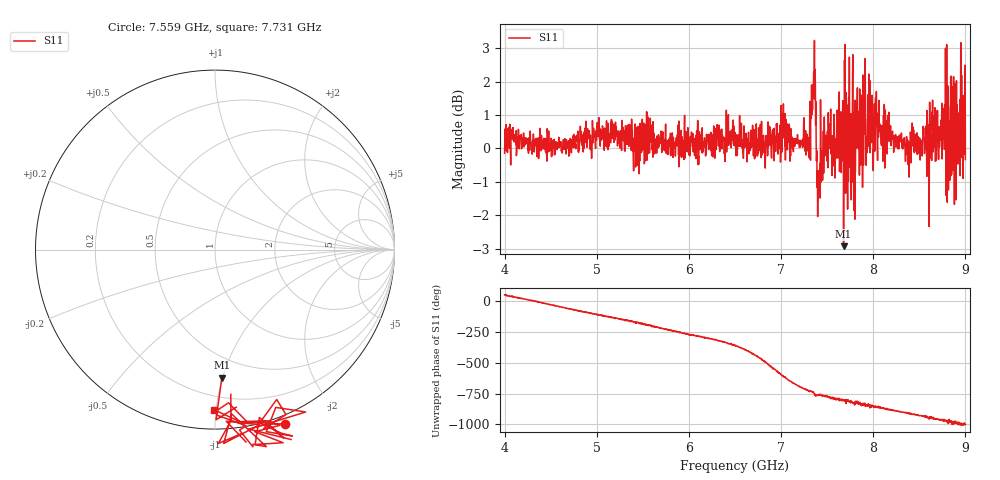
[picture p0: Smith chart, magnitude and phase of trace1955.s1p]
! Created with skrf 1.8.0 (http://scikit-rf.org).
# Hz S RI R 50.0
!freq ReS11 ImS11
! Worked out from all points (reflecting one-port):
!   1601 points, 4 GHz to 9 GHz, reference 50 ohm
!   lowest |S11| = -2.9 dB at 7.678 GHz (marker M1), VSWR 6.00, Z = 17.1 - j49.7 ohm
!   phase of S11 starts at 51 deg and turns -1051 deg over the sweep
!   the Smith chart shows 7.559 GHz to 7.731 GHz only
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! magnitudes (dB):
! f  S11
! 4 GHz  -0.1
! 4.625 GHz  -0.1
! 5.25 GHz  0.0
! 5.875 GHz  0.4
! 6.5 GHz  0.5
! 6.806 GHz  0.3
! 7.038 GHz  0.8
! 7.125 GHz  0.1
! 7.294 GHz  -0.1
! 7.347 GHz  1.8
! 7.369 GHz  2.4
! 7.4 GHz  -0.7
! 7.412 GHz  -1.0
! 7.512 GHz  1.1
! 7.678 GHz  -2.9
! 7.75 GHz  -0.6
! 7.775 GHz  1.8
! 7.834 GHz  0.4
! 7.944 GHz  1.6
! 7.962 GHz  2.0
! 8.375 GHz  0.1
! 8.562 GHz  0.3
! 8.616 GHz  0.6
! 8.634 GHz  -0.4
! 8.775 GHz  1.3
! 8.906 GHz  -0.1
! 8.972 GHz  0.5
! 9 GHz  -0.3
